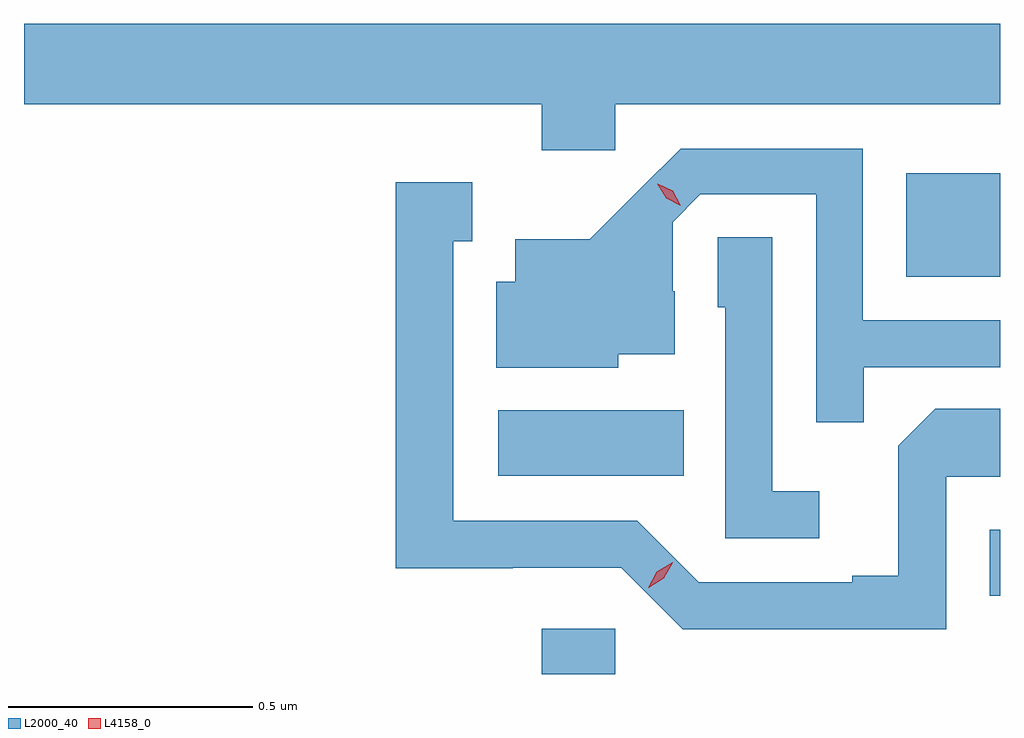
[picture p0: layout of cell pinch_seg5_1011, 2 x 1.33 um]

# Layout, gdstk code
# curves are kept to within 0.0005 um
import gdstk
lib = gdstk.Library(unit=1e-6, precision=1e-09)
def R(c, l, rs):  # rectangles x0, y0, x1, y1
    for r in rs: c.add(gdstk.rectangle(r[:2], r[2:], *l))
def P(c, l, *ps):  # polygons
    for p in ps: c.add(gdstk.Polygon(p, *l))
L2000_40 = (2000, 40)
L4158_0 = (4158, 0)

pinch_seg5_1011 = lib.new_cell('pinch_seg5_1011')
R(pinch_seg5_1011, L2000_40, [(725.987,896.884,726.138,896.977), (726.905,897.044,726.926,897.18), (725.898,897.29,726.278,897.424), (726.734,897.698,726.926,897.91)])
P(pinch_seg5_1011, L2000_40, [(726.138,898.052),(726.926,898.052),(726.926,898.216),(724.926,898.216),(724.926,898.052),(725.987,898.052),(725.987,897.957),(726.138,897.957)],
  [(726.647,897.513),(726.926,897.513),(726.926,897.609),(726.645,897.609),(726.645,897.96),(726.272,897.96),(726.085,897.775),(725.933,897.775),(725.933,897.688),(725.894,897.688),(725.894,897.512),(726.144,897.512),(726.144,897.539),(726.259,897.539),(726.259,897.668),(726.255,897.668),(726.255,897.81),(726.312,897.867),(726.549,897.867),(726.549,897.4),(726.647,897.4)],
  [(726.816,897.288),(726.926,897.288),(726.926,897.428),(726.793,897.428),(726.717,897.352),(726.717,897.085),(726.623,897.085),(726.623,897.072),(726.309,897.072),(726.183,897.198),(725.806,897.198),(725.806,897.771),(725.845,897.771),(725.845,897.892),(725.688,897.892),(725.688,897.101),(725.928,897.101),(725.928,897.102),(726.15,897.102),(726.276,896.976),(726.816,896.976)],
  [(726.556,897.259),(726.459,897.259),(726.459,897.779),(726.348,897.779),(726.348,897.636),(726.363,897.636),(726.363,897.162),(726.556,897.162)])
P(pinch_seg5_1011, L4158_0, [(726.272,897.844),(726.242,897.859),(726.224,897.889),(726.224,897.889),(726.225,897.889),(726.255,897.874),(726.272,897.844),(726.272,897.844)],
  [(726.205,897.061),(726.205,897.061),(726.223,897.094),(726.255,897.113),(726.255,897.113),(726.255,897.112),(726.237,897.08),(726.206,897.061)])

lib.write_gds('pinch_seg5_1011.gds')
